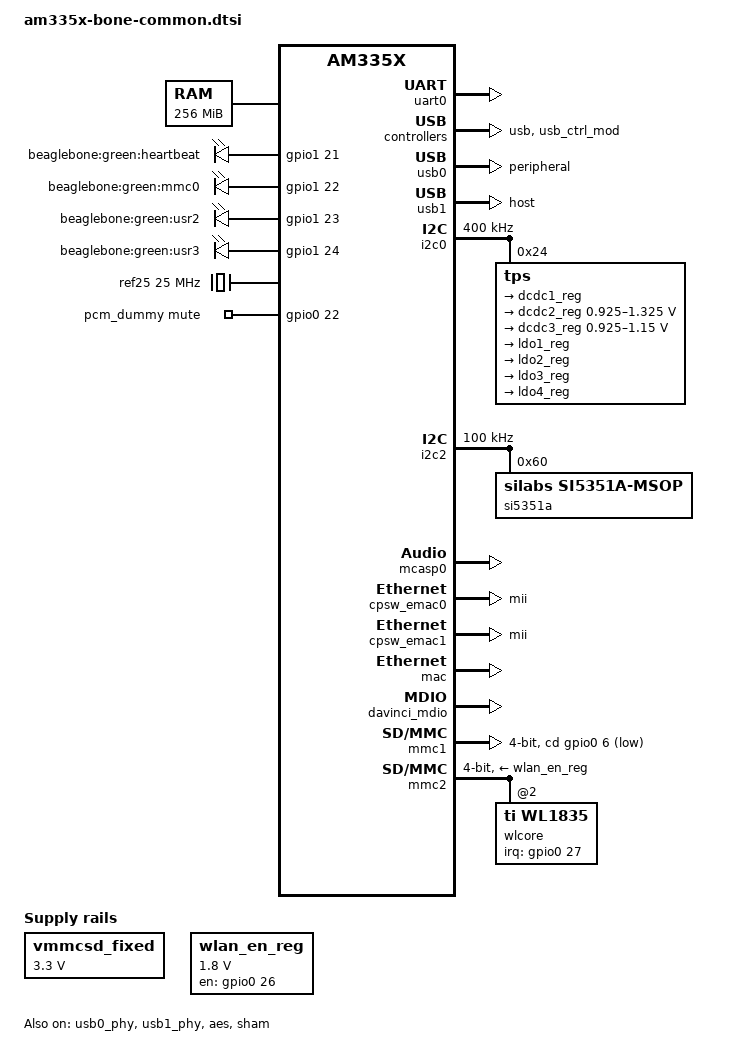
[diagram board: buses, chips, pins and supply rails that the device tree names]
/*
 * Copyright (C) 2012 Texas Instruments Incorporated - http://www.ti.com/
 *
 * This program is free software; you can redistribute it and/or modify
 * it under the terms of the GNU General Public License version 2 as
 * published by the Free Software Foundation.
 */

#include <dt-bindings/interrupt-controller/irq.h>

/ {
	cpus {
		cpu@0 {
			cpu0-supply = <&dcdc2_reg>;
		};
	};

	memory {
		device_type = "memory";
		reg = <0x80000000 0x10000000>; /* 256 MB */
	};

	leds {
		pinctrl-names = "default";
		pinctrl-0 = <&user_leds_s0>;

		compatible = "gpio-leds";

		led@2 {
			label = "beaglebone:green:heartbeat";
			gpios = <&gpio1 21 GPIO_ACTIVE_HIGH>;
			linux,default-trigger = "heartbeat";
			default-state = "off";
		};

		led@3 {
			label = "beaglebone:green:mmc0";
			gpios = <&gpio1 22 GPIO_ACTIVE_HIGH>;
			linux,default-trigger = "mmc0";
			default-state = "off";
		};

		led@4 {
			label = "beaglebone:green:usr2";
			gpios = <&gpio1 23 GPIO_ACTIVE_HIGH>;
			linux,default-trigger = "cpu0";
			default-state = "off";
		};

		led@5 {
			label = "beaglebone:green:usr3";
			gpios = <&gpio1 24 GPIO_ACTIVE_HIGH>;
			linux,default-trigger = "mmc1";
			default-state = "off";
		};
	};

	vmmcsd_fixed: fixedregulator@0 {
		compatible = "regulator-fixed";
		regulator-name = "vmmcsd_fixed";
		regulator-min-microvolt = <3300000>;
		regulator-max-microvolt = <3300000>;
	};

	wlan_en_reg: fixedregulator@1 {
		compatible = "regulator-fixed";
		regulator-name = "wlan-en-regulator";
		regulator-min-microvolt = <1800000>;
		regulator-max-microvolt = <1800000>;

		/* WLAN_EN GPIO for this board - Bank1, pin26 */
		gpio = <&gpio0 26 0>;

		/* WLAN card specific delay */
		startup-delay-us = <70000>;
		enable-active-high;
	};

	audio {
		compatible = "sue,am33xx-generic-audio";
		pinctrl-names = "default";
		pinctrl-0 = <&audio_pins>;
		sue,card-name = "Stream Audio";
		/*sue,early-mclk;*/
		clocks = <&si5351a 0>, <&si5351a 0>; /* playback clk, receive clk */
		sue,persistent-clocks;

		links {
			link@0 {
				sue,name = "analog";
				sue,stream-name = "I2S";

				sue,platform = <&mcasp0>;
				sue,cpu-dai-name = "48038000.mcasp";
				sue,codec = <&pcm_dummy>;
				sue,codec-dai-name = "Dummy PCM Codec";
			};
		};
	};

	/* 25MHz output from quartz next to SI5351a */
	ref25: ref25M {
		compatible = "fixed-clock";
		#clock-cells = <0>;
		clock-frequency = <25000000>;
	};

	/* dummy pcm codec */
	pcm_dummy: pcm_dummy {
		compatible = "sue,pcm_dummy";
		mute-gpio = <&gpio0 22 0>;
	};

	supersync {
		compatible = "supersync";

		/* TODO: Add input-timer device tree binding inside kernel */
		/* input-timer = <&timer4>; */
		clocks = <&si5351a 0>;

		pinctrl-names = "default";
		pinctrl-0 = <&supersync_pins>;

		status="okay";
	};
};

&am33xx_pinmux {
	pinctrl-names = "default", "sleep";
	pinctrl-0 = <&wlan_pins>;
	pinctrl-1 = <&wlan_pins_sleep>;

	user_leds_s0: user_leds_s0 {
		pinctrl-single,pins = <
			0x54 (PIN_OUTPUT_PULLDOWN | MUX_MODE7)	/* gpmc_a5.gpio1_21 */
			0x58 (PIN_OUTPUT_PULLUP | MUX_MODE7)	/* gpmc_a6.gpio1_22 */
			0x5c (PIN_OUTPUT_PULLDOWN | MUX_MODE7)	/* gpmc_a7.gpio1_23 */
			0x60 (PIN_OUTPUT_PULLUP | MUX_MODE7)	/* gpmc_a8.gpio1_24 */
		>;
	};

	i2c0_pins: pinmux_i2c0_pins {
		pinctrl-single,pins = <
			0x188 (PIN_INPUT_PULLUP | MUX_MODE0)	/* i2c0_sda.i2c0_sda */
			0x18c (PIN_INPUT_PULLUP | MUX_MODE0)	/* i2c0_scl.i2c0_scl */
		>;
	};

	i2c2_pins: pinmux_i2c2_pins {
		pinctrl-single,pins = <
			0x178 (PIN_INPUT_PULLUP | MUX_MODE3)	/* uart1_ctsn.i2c2_sda */
			0x17c (PIN_INPUT_PULLUP | MUX_MODE3)	/* uart1_rtsn.i2c2_scl */
		>;
	};

	uart0_pins: pinmux_uart0_pins {
		pinctrl-single,pins = <
			0x170 (PIN_INPUT_PULLUP | MUX_MODE0)	/* uart0_rxd.uart0_rxd */
			0x174 (PIN_OUTPUT_PULLDOWN | MUX_MODE0)	/* uart0_txd.uart0_txd */
		>;
	};

	cpsw_default: cpsw_default {
		pinctrl-single,pins = <
			/* Slave 1 */
			0x110 (PIN_INPUT_PULLUP | MUX_MODE0)	/* mii1_rxerr.mii1_rxerr */
			0x114 (PIN_OUTPUT_PULLDOWN | MUX_MODE0)	/* mii1_txen.mii1_txen */
			0x118 (PIN_INPUT_PULLUP | MUX_MODE0)	/* mii1_rxdv.mii1_rxdv */
			0x11c (PIN_OUTPUT_PULLDOWN | MUX_MODE0)	/* mii1_txd3.mii1_txd3 */
			0x120 (PIN_OUTPUT_PULLDOWN | MUX_MODE0)	/* mii1_txd2.mii1_txd2 */
			0x124 (PIN_OUTPUT_PULLDOWN | MUX_MODE0)	/* mii1_txd1.mii1_txd1 */
			0x128 (PIN_OUTPUT_PULLDOWN | MUX_MODE0)	/* mii1_txd0.mii1_txd0 */
			0x12c (PIN_INPUT_PULLUP | MUX_MODE0)	/* mii1_txclk.mii1_txclk */
			0x130 (PIN_INPUT_PULLUP | MUX_MODE0)	/* mii1_rxclk.mii1_rxclk */
			0x134 (PIN_INPUT_PULLUP | MUX_MODE0)	/* mii1_rxd3.mii1_rxd3 */
			0x138 (PIN_INPUT_PULLUP | MUX_MODE0)	/* mii1_rxd2.mii1_rxd2 */
			0x13c (PIN_INPUT_PULLUP | MUX_MODE0)	/* mii1_rxd1.mii1_rxd1 */
			0x140 (PIN_INPUT_PULLUP | MUX_MODE0)	/* mii1_rxd0.mii1_rxd0 */
		>;
	};

	cpsw_sleep: cpsw_sleep {
		pinctrl-single,pins = <
			/* Slave 1 reset value */
			0x110 (PIN_INPUT_PULLDOWN | MUX_MODE7)
			0x114 (PIN_INPUT_PULLDOWN | MUX_MODE7)
			0x118 (PIN_INPUT_PULLDOWN | MUX_MODE7)
			0x11c (PIN_INPUT_PULLDOWN | MUX_MODE7)
			0x120 (PIN_INPUT_PULLDOWN | MUX_MODE7)
			0x124 (PIN_INPUT_PULLDOWN | MUX_MODE7)
			0x128 (PIN_INPUT_PULLDOWN | MUX_MODE7)
			0x12c (PIN_INPUT_PULLDOWN | MUX_MODE7)
			0x130 (PIN_INPUT_PULLDOWN | MUX_MODE7)
			0x134 (PIN_INPUT_PULLDOWN | MUX_MODE7)
			0x138 (PIN_INPUT_PULLDOWN | MUX_MODE7)
			0x13c (PIN_INPUT_PULLDOWN | MUX_MODE7)
			0x140 (PIN_INPUT_PULLDOWN | MUX_MODE7)
		>;
	};

	davinci_mdio_default: davinci_mdio_default {
		pinctrl-single,pins = <
			/* MDIO */
			0x148 (PIN_INPUT_PULLUP | SLEWCTRL_FAST | MUX_MODE0)	/* mdio_data.mdio_data */
			0x14c (PIN_OUTPUT_PULLUP | MUX_MODE0)			/* mdio_clk.mdio_clk */
		>;
	};

	davinci_mdio_sleep: davinci_mdio_sleep {
		pinctrl-single,pins = <
			/* MDIO reset value */
			0x148 (PIN_INPUT_PULLDOWN | MUX_MODE7)
			0x14c (PIN_INPUT_PULLDOWN | MUX_MODE7)
		>;
	};

	mmc1_pins: pinmux_mmc1_pins {
		pinctrl-single,pins = <
			0x160 (PIN_INPUT | MUX_MODE7) /* GPIO0_6 */
		>;
	};

	mmc2_pins: pinmux_mmc2_pins {
		pinctrl-single,pins = <
			0x80 (PIN_INPUT_PULLUP | MUX_MODE2) /* gpmc_csn1.mmc1_clk */
			0x84 (PIN_INPUT_PULLUP | MUX_MODE2) /* gpmc_csn2.mmc1_cmd */
			0x00 (PIN_INPUT_PULLUP | MUX_MODE1) /* gpmc_ad0.mmc1_dat0 */
			0x04 (PIN_INPUT_PULLUP | MUX_MODE1) /* gpmc_ad1.mmc1_dat1 */
			0x08 (PIN_INPUT_PULLUP | MUX_MODE1) /* gpmc_ad2.mmc1_dat2 */
			0x0c (PIN_INPUT_PULLUP | MUX_MODE1) /* gpmc_ad3.mmc1_dat3 */
		>;
	};

	mmc2_pins_sleep: pinmux_mmc2_pins_sleep {
		pinctrl-single,pins = <
			0x80 (PIN_INPUT_PULLDOWN | MUX_MODE7) /* gpmc_csn1.mmc1_clk */
			0x84 (PIN_INPUT_PULLDOWN | MUX_MODE7) /* gpmc_csn2.mmc1_cmd */
			0x00 (PIN_INPUT_PULLDOWN | MUX_MODE7) /* gpmc_ad0.mmc1_dat0 */
			0x04 (PIN_INPUT_PULLDOWN | MUX_MODE7) /* gpmc_ad1.mmc1_dat1 */
			0x08 (PIN_INPUT_PULLDOWN | MUX_MODE7) /* gpmc_ad2.mmc1_dat2 */
			0x0c (PIN_INPUT_PULLDOWN | MUX_MODE7) /* gpmc_ad3.mmc1_dat3 */
		>;
	};

	/* wl12xx/wl18xx card enable/irq GPIOs. */
	wlan_pins: pinmux_wlan_pins {
		pinctrl-single,pins = <
			0x28 (PIN_OUTPUT_PULLDOWN | MUX_MODE7)	/* gpmc_ad10.gpio0_26 WL_EN*/
			0x2C (PIN_INPUT_PULLUP | MUX_MODE7)	/* gpmc_ad11.gpio0_27 WL_IRQ*/
			0x30 (PIN_OUTPUT_PULLDOWN | MUX_MODE7)	/* gpmc_ad12.gpio1_12 BT_EN*/
			0x7C (PIN_OUTPUT_PULLUP | MUX_MODE0)	/* gpmc_csn0.gpio1_29 BF_EN*/
		>;
	};

	/* wl12xx/wl18xx card enable/irq GPIOs. */
	wlan_pins_sleep: pinmux_wlan_pins_sleep {
		pinctrl-single,pins = <
			0x28 (PIN_OUTPUT_PULLUP | MUX_MODE7)	/* gpmc_ad10.gpio0_26 WL_EN*/
			0x2C (PIN_INPUT_PULLUP | MUX_MODE7)	/* gpmc_ad11.gpio0_27 WL_IRQ*/
			0x30 (PIN_OUTPUT_PULLUP | MUX_MODE7)	/* gpmc_ad12.gpio1_12 BT_EN*/
			0x7C (PIN_OUTPUT_PULLUP | MUX_MODE0)	/* gpmc_csn0.gpio1_29 BF_EN*/
		>;
	};

	audio_pins: pinmux_audio_pins {
		pinctrl-single,pins = < /*  pin-name     -> function      (S800 name) */
			0x6c (PIN_OUTPUT_PULLDOWN | MUX_MODE7)	/* conf_gpmc_a11.gpio1_27 HDMI clock disable node */
			0x9c (PIN_INPUT | MUX_MODE7)		/* conf_gpmc_ben0_cle.gpio2_5 needs to be disabled */
			0x108 (PIN_OUTPUT_PULLDOWN | MUX_MODE4)	/* GMII1_COL -> MCASP1_AXR2      (SPDIF_OUT)     - out */
			0x190 (PIN_OUTPUT_PULLDOWN | MUX_MODE0)	/* MCASP0_ACLKX -> MCASP0_ACLKX		(I2S_BCLK_OUT) - out */
			0x194 (PIN_OUTPUT_PULLDOWN | MUX_MODE0)	/* MCASP0_FSX -> MCASP0_FSX		(I2S_WCLK_OUT) - out */
			0x198 (PIN_INPUT | MUX_MODE0)		/* MCASP0_AXR0 -> MCASP0_AXR0		(I2S_DATA_IN) - in */
			0x19c (PIN_OUTPUT_PULLDOWN | MUX_MODE2)	/* MCASP0_AHCLKR -> MCASP0_AXR2 (I2S_DATA_OUT) -out */
			0x1a8 (PIN_INPUT | MUX_MODE7)		/* MCASP0_AXR1 -> GPIO3_20 */
			0x1ac (PIN_INPUT_PULLDOWN | MUX_MODE0)	/* MCASP0_AHCLKX -> MCASP0_AHCLKX	(I2S_MCLK_OUT)- in */
		>;
	};

	supersync_pins: supersync_pins {
		pinctrl-single,pins = <
			0x1b4 (PIN_INPUT | MUX_MODE2)   /* xdma_event_intr1.tclkin */
			0x90 (PIN_OUTPUT | MUX_MODE2)   /* gpmc_advn_ale.timer4 */
			0x44 (PIN_OUTPUT | MUX_MODE7)   /* gpmc_a1.GPIO1_17 */
		>;
	};
};

&uart0 {
	pinctrl-names = "default";
	pinctrl-0 = <&uart0_pins>;

	status = "okay";
};

&usb {
	status = "okay";
};

&usb_ctrl_mod {
	status = "okay";
};

&usb0_phy {
	status = "okay";
};

&usb1_phy {
	status = "okay";
};

&usb0 {
	status = "okay";
	dr_mode = "peripheral";
};

&usb1 {
	status = "okay";
	dr_mode = "host";
};

&cppi41dma  {
	status = "okay";
};

&i2c0 {
	pinctrl-names = "default";
	pinctrl-0 = <&i2c0_pins>;

	status = "okay";
	clock-frequency = <400000>;

	tps: tps@24 {
		reg = <0x24>;
	};

};

&i2c2 {
	pinctrl-names = "default";
	pinctrl-0 = <&i2c2_pins>;

	status = "okay";
	clock-frequency = <100000>;

	/* Si5351a i2c clock generator */
	si5351a: clock-generator@60 {
		compatible = "silabs,si5351a-msop";
		reg = <0x60>;
		#address-cells = <1>;
		#size-cells = <0>;
		#clock-cells = <1>;

		/* connect xtal input to 25MHz reference */
		clocks = <&ref25>;
		clock-names = "xtal";

		/* connect xtal input as source of pll0 and pll1 */
		silabs,pll-source = <0 0>, <1 0>;

		/*
		 * overwrite clkout0 configuration with:
		 * - 8mA output drive strength
		 * - pll0 as clock source of multisynth0
		 * - multisynth0 as clock source of output divider
		 * - multisynth0 can change pll0
		 */
		clkout0 {
			reg = <0>;
			silabs,drive-strength = <8>;
			silabs,multisynth-source = <0>;
			silabs,clock-source = <0>;
			silabs,pll-master;
		};
	};
};


&mcasp0 {
	status = "okay";
	op-mode = <0>;          /* MCASP_IIS_MODE */
	tdm-slots = <2>;        /*I2S = 2 channles, other: TDM */
	num-serializer = <4>;   /*num of serializers*/
	serial-dir = <  2 0 1 0 >; /* 0: INACTIVE, 1: TX, 2: RX */
	tx-num-evt = <2>;       /*tx FIFO buffer lenght */
	rx-num-evt = <1>;       /*rx FIFO buffer lenght */
};


/include/ "tps65217.dtsi"

&tps {
	/*
	 * Configure pmic to enter OFF-state instead of SLEEP-state ("RTC-only
	 * mode") at poweroff.  Most BeagleBone versions do not support RTC-only
	 * mode and risk hardware damage if this mode is entered.
	 *
	 * For details, see linux-omap mailing list May 2015 thread
	 *	[PATCH] ARM: dts: am335x-bone* enable pmic-shutdown-controller
	 * In particular, messages:
	 *	http://www.spinics.net/lists/linux-omap/msg118585.html
	 *	http://www.spinics.net/lists/linux-omap/msg118615.html
	 *
	 * You can override this later with
	 *	&tps {  /delete-property/ ti,pmic-shutdown-controller;  }
	 * if you want to use RTC-only mode and made sure you are not affected
	 * by the hardware problems. (Tip: double-check by performing a current
	 * measurement after shutdown: it should be less than 1 mA.)
	 */
	ti,pmic-shutdown-controller;

	regulators {
		dcdc1_reg: regulator@0 {
			regulator-name = "vdds_dpr";
			regulator-always-on;
		};

		dcdc2_reg: regulator@1 {
			/* VDD_MPU voltage limits 0.95V - 1.26V with +/-4% tolerance */
			regulator-name = "vdd_mpu";
			regulator-min-microvolt = <925000>;
			regulator-max-microvolt = <1325000>;
			regulator-boot-on;
			regulator-always-on;
		};

		dcdc3_reg: regulator@2 {
			/* VDD_CORE voltage limits 0.95V - 1.1V with +/-4% tolerance */
			regulator-name = "vdd_core";
			regulator-min-microvolt = <925000>;
			regulator-max-microvolt = <1150000>;
			regulator-boot-on;
			regulator-always-on;
		};

		ldo1_reg: regulator@3 {
			regulator-name = "vio,vrtc,vdds";
			regulator-always-on;
		};

		ldo2_reg: regulator@4 {
			regulator-name = "vdd_3v3aux";
			regulator-always-on;
		};

		ldo3_reg: regulator@5 {
			regulator-name = "vdd_1v8";
			regulator-always-on;
		};

		ldo4_reg: regulator@6 {
			regulator-name = "vdd_3v3a";
			regulator-always-on;
		};
	};
};

&cpsw_emac0 {
	phy_id = <&davinci_mdio>, <0>;
	phy-mode = "mii";
};

&cpsw_emac1 {
	phy_id = <&davinci_mdio>, <1>;
	phy-mode = "mii";
};

&mac {
	pinctrl-names = "default", "sleep";
	pinctrl-0 = <&cpsw_default>;
	pinctrl-1 = <&cpsw_sleep>;
	status = "okay";
};

&davinci_mdio {
	pinctrl-names = "default", "sleep";
	pinctrl-0 = <&davinci_mdio_default>;
	pinctrl-1 = <&davinci_mdio_sleep>;
	status = "okay";
};

&mmc1 {
	status = "okay";
	bus-width = <0x4>;
	pinctrl-names = "default";
	pinctrl-0 = <&mmc1_pins>;
	cd-gpios = <&gpio0 6 GPIO_ACTIVE_HIGH>;
	cd-inverted;
};

&aes {
	status = "okay";
};

&sham {
	status = "okay";
};

&mmc2 {
	status = "okay";
	vmmc-supply = <&wlan_en_reg>;
	bus-width = <4>;
	pinctrl-names = "default", "sleep";
	pinctrl-0 = <&mmc2_pins>;
	pinctrl-1 = <&mmc2_pins_sleep>;
	ti,non-removable;
	ti,needs-special-hs-handling;
	cap-power-off-card;
	keep-power-in-suspend;

	#address-cells = <1>;
	#size-cells = <0>;
	wlcore: wlcore@0 {
		compatible = "ti,wl1835";
		reg = <2>;
		interrupt-parent = <&gpio0>;
		interrupts = <27 IRQ_TYPE_LEVEL_HIGH>;
	};
};

&timer4 {
	ti,timer-alwon;
};
